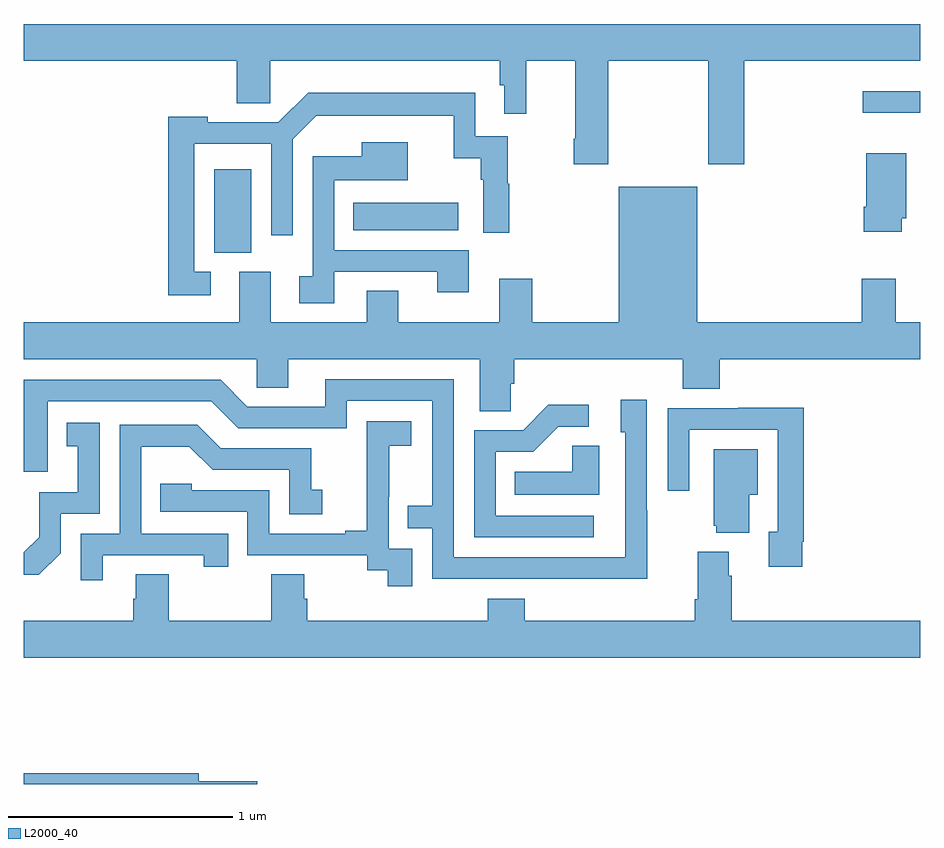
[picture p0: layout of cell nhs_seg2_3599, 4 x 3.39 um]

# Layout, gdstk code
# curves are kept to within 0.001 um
import gdstk
lib = gdstk.Library(unit=1e-6, precision=1e-09)
def R(c, l, rs):  # rectangles x0, y0, x1, y1
    for r in rs: c.add(gdstk.rectangle(r[:2], r[2:], *l))
def P(c, l, *ps):  # polygons
    for p in ps: c.add(gdstk.Polygon(p, *l))
L2000_40 = (2000, 40)

nhs_seg2_3599 = lib.new_cell('nhs_seg2_3599')
R(nhs_seg2_3599, L2000_40, [(301.85,588.172,302.014,588.544), (302.47,588.272,302.938,588.394), (304.743,588.795,305,588.892)])
P(nhs_seg2_3599, L2000_40, [(303.609,589.028),(304.054,589.028),(304.054,588.567),(304.214,588.567),(304.214,589.028),(305,589.028),(305,589.192),(301,589.192),(301,589.028),(301.949,589.028),(301.949,588.838),(302.099,588.838),(302.099,589.028),(303.124,589.028),(303.124,588.918),(303.144,588.918),(303.144,588.792),(303.243,588.792),(303.243,589.028),(303.461,589.028),(303.461,588.679),(303.454,588.679),(303.454,588.567),(303.609,588.567)],
  [(301.834,588.087),(301.761,588.087),(301.761,588.657),(302.103,588.657),(302.103,588.249),(302.199,588.249),(302.199,588.678),(302.304,588.783),(302.918,588.782),(302.918,588.593),(303.039,588.593),(303.039,588.497),(303.051,588.497),(303.051,588.261),(303.167,588.261),(303.167,588.48),(303.16,588.48),(303.16,588.69),(303.015,588.69),(303.015,588.886),(302.269,588.886),(302.136,588.753),(301.821,588.753),(301.821,588.778),(301.645,588.778),(301.645,587.982),(301.834,587.982)],
  [(302.386,588.087),(302.846,588.087),(302.846,587.994),(302.986,587.994),(302.986,588.183),(302.385,588.183),(302.385,588.494),(302.713,588.494),(302.713,588.664),(302.507,588.664),(302.507,588.601),(302.289,588.601),(302.289,588.066),(302.229,588.066),(302.229,587.946),(302.386,587.946)],
  [(304.918,588.324),(304.939,588.324),(304.939,588.616),(304.76,588.616),(304.76,588.376),(304.748,588.376),(304.748,588.264),(304.918,588.264)],
  [(303.174,587.587),(303.188,587.587),(303.188,587.696),(303.941,587.696),(303.941,587.563),(304.106,587.563),(304.106,587.696),(305,587.696),(305,587.86),(304.891,587.86),(304.891,588.055),(304.739,588.055),(304.739,587.86),(304.006,587.86),(304.006,588.466),(303.656,588.466),(303.656,587.86),(303.27,587.86),(303.27,588.055),(303.122,588.055),(303.122,587.86),(302.671,587.86),(302.671,588.002),(302.531,588.002),(302.531,587.86),(302.101,587.86),(302.101,588.087),(301.961,588.087),(301.961,587.86),(301,587.86),(301,587.696),(302.04,587.696),(302.04,587.569),(302.179,587.569),(302.179,587.696),(303.035,587.696),(303.035,587.464),(303.174,587.464)],
  [(303.783,587.021),(303.78,587.021),(303.78,587.515),(303.665,587.515),(303.665,587.37),(303.684,587.37),(303.684,586.812),(302.919,586.812),(302.919,587.607),(302.345,587.607),(302.345,587.484),(301.998,587.484),(301.878,587.604),(301,587.604),(301,587.193),(301.107,587.193),(301.107,587.508),(301.836,587.508),(301.956,587.388),(302.442,587.388),(302.442,587.511),(302.823,587.511),(302.823,587.042),(302.713,587.042),(302.713,586.941),(302.823,586.941),(302.823,586.716),(303.783,586.715)],
  [(303.544,586.998),(303.105,586.998),(303.105,587.283),(303.274,587.283),(303.385,587.394),(303.52,587.394),(303.52,587.492),(303.341,587.492),(303.228,587.379),(303.009,587.379),(303.009,586.902),(303.544,586.902)],
  [(304.474,586.882),(304.481,586.882),(304.481,587.48),(304.189,587.48),(304.189,587.478),(303.873,587.478),(303.873,587.109),(303.969,587.109),(303.969,587.382),(304.365,587.382),(304.365,586.926),(304.325,586.926),(304.325,586.77),(304.474,586.77)],
  [(302.733,586.851),(302.628,586.851),(302.628,587.081),(302.63,587.081),(302.63,587.309),(302.728,587.309),(302.728,587.419),(302.53,587.419),(302.53,587.213),(302.531,587.213),(302.531,586.93),(302.435,586.93),(302.435,586.917),(302.094,586.917),(302.094,587.112),(301.749,587.112),(301.749,587.139),(301.609,587.139),(301.609,587.016),(301.998,587.016),(301.998,586.821),(302.532,586.821),(302.532,586.753),(302.625,586.753),(302.625,586.683),(302.733,586.683)],
  [(301.164,586.83),(301.164,587.007),(301.338,587.007),(301.338,587.413),(301.192,587.413),(301.192,587.307),(301.241,587.307),(301.241,587.103),(301.068,587.103),(301.068,586.902),(301,586.834),(301,586.733),(301.066,586.733)],
  [(301.351,586.821),(301.802,586.821),(301.802,586.77),(301.913,586.77),(301.913,586.917),(301.524,586.917),(301.524,587.306),(301.738,587.306),(301.842,587.202),(302.184,587.202),(302.184,587.004),(302.332,587.004),(302.332,587.113),(302.283,587.113),(302.283,587.298),(301.879,587.298),(301.774,587.403),(301.428,587.403),(301.428,586.917),(301.254,586.917),(301.254,586.71),(301.351,586.71)],
  [(303.568,587.309),(303.447,587.309),(303.447,587.194),(303.19,587.194),(303.19,587.09),(303.568,587.09)],
  [(304.237,587.09),(304.276,587.09),(304.276,587.293),(304.079,587.293),(304.079,586.953),(304.091,586.953),(304.091,586.922),(304.237,586.922)],
  [(305,586.528),(304.16,586.528),(304.16,586.73),(304.147,586.73),(304.147,586.837),(304.007,586.837),(304.007,586.624),(303.995,586.624),(303.995,586.528),(303.236,586.528),(303.236,586.627),(303.071,586.627),(303.071,586.528),(302.264,586.528),(302.264,586.626),(302.251,586.626),(302.251,586.736),(302.104,586.736),(302.104,586.528),(301.647,586.528),(301.647,586.736),(301.499,586.736),(301.499,586.626),(301.487,586.626),(301.487,586.528),(301,586.528),(301,586.364),(305,586.364)],
  [(302.041,585.812),(301.78,585.812),(301.78,585.848),(301,585.848),(301,585.8),(302.041,585.8)])

lib.write_gds('nhs_seg2_3599.gds')
